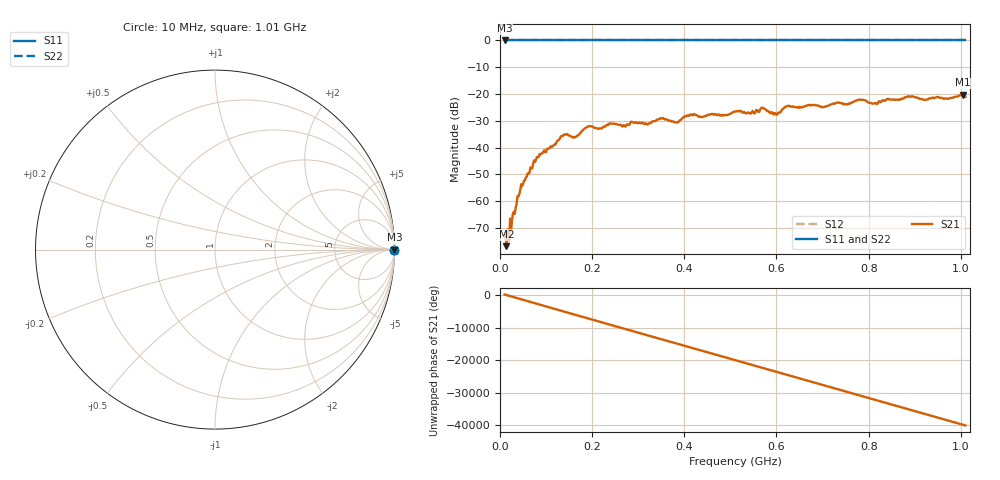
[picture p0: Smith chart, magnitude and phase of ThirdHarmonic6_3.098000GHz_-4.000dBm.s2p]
! 8/17/2025 9:07:48 AM
! C:\ANRITSUVNA\TEMP\TEMP.S2P
! CHANNEL.1
! TR.MEASUREMENT
! RAW.DATA
! RF.CORRECTION.OFF
! AVERAGING.OFF
! IF.BANDWIDTH: 5KHZ
! SWEEPTYPE:  FREQ.SWEEP(Linear)
! Reference Plane Port Info
! PORT:  PORT1  PORT2
! DISTANCE:  0  m  0  m
! TIME:  0  s  0  s
! PHASE.OFFSET:  0  deg.  0  deg.
! LOSS:  0  dB  0  dB
! REF.LOSS:  0  dB  0  dB
! REF.FREQ:  0  Hz  0  Hz
! Power Info
! POWER:  -20  dBm  -20  dBm
! EFF.POWER:  -20  dBm  -20  dBm
! SOURCE.ATTEN:  0  dB  0  dB
! TEST.ATTEN:  0  dB  0  dB
# GHZ S RI R 50.0
! FREQ.GHZ  S11RE  S11IM  S21RE  S21IM  S12RE  S12IM  S22RE  S22IM
!; PortSelection: Port_12
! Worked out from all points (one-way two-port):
!   501 points, 10 MHz to 1.01 GHz, reference 50 ohm
!   highest |S21| = -20.30 dB at 1.004 GHz (marker M1); lowest = -76.8 dB at 14 MHz (marker M2)
!   lowest |S11| = 0.0 dB at 10 MHz (marker M3)
!   |S11| at or under -10 dB: nowhere
!   |S22| runs from 0.0 to 0.0 dB; largest |S21 - S12| = 1.1
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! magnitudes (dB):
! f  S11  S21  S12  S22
! 10 MHz  0.0  -73.3  0.0  0.0
! 14 MHz  0.0  -76.8  0.0  0.0
! 20 MHz  0.0  -74.7  0.0  0.0
! 42 MHz  0.0  -57.4  0.0  0.0
! 76 MHz  0.0  -45.4  0.0  0.0
! 136 MHz  0.0  -35.7  0.0  0.0
! 162 MHz  0.0  -36.3  0.0  0.0
! 178 MHz  0.0  -33.8  0.0  0.0
! 194 MHz  0.0  -32.0  0.0  0.0
! 318 MHz  0.0  -31.3  0.0  0.0
! 344 MHz  0.0  -29.5  0.0  0.0
! 382 MHz  0.0  -30.6  0.0  0.0
! 416 MHz  0.0  -27.8  0.0  0.0
! 510 MHz  0.0  -26.6  0.0  0.0
! 570 MHz  0.0  -25.2  0.0  0.0
! 598 MHz  0.0  -27.3  0.0  0.0
! 624 MHz  0.0  -24.5  0.0  0.0
! 678 MHz  0.0  -24.2  0.0  0.0
! 816 MHz  0.0  -23.5  0.0  0.0
! 844 MHz  0.0  -22.0  0.0  0.0
! 1.004 GHz  0.0  -20.3  0.0  0.0
! 1.01 GHz  0.0  -21.0  0.0  0.0
